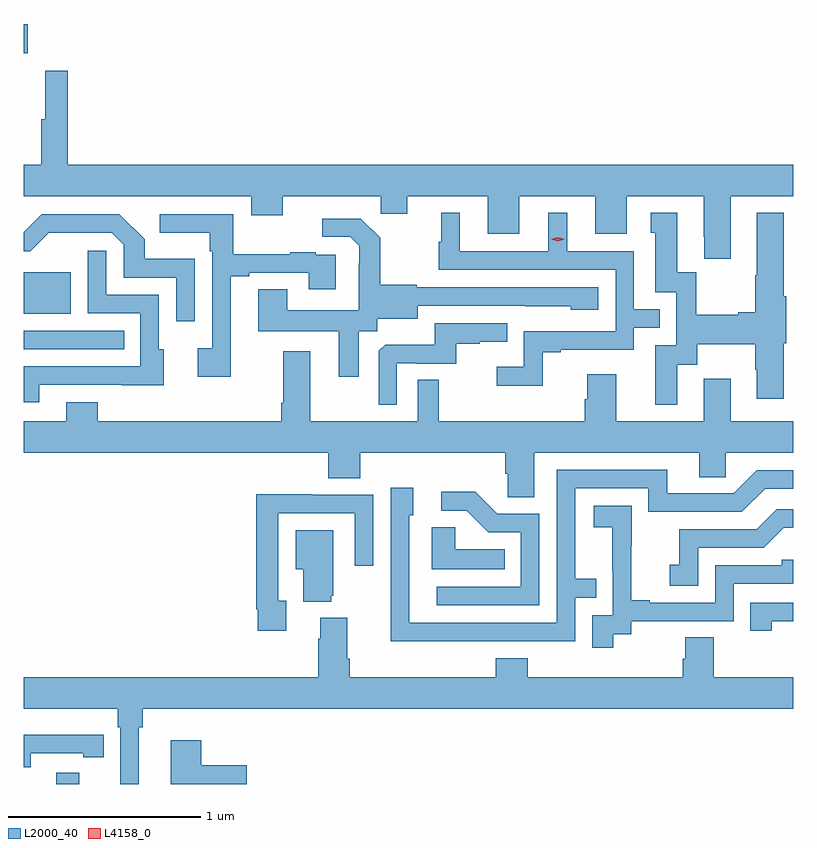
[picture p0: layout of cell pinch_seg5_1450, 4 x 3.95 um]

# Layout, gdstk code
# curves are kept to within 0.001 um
import gdstk
lib = gdstk.Library(unit=1e-6, precision=1e-09)
def R(c, l, rs):  # rectangles x0, y0, x1, y1
    for r in rs: c.add(gdstk.rectangle(r[:2], r[2:], *l))
def P(c, l, *ps):  # polygons
    for p in ps: c.add(gdstk.Polygon(p, *l))
L2000_40 = (2000, 40)
L4158_0 = (4158, 0)

pinch_seg5_1450 = lib.new_cell('pinch_seg5_1450')
R(pinch_seg5_1450, L2000_40, [(237.781,887.006,237.899,887.065), (237.611,889.266,238.133,889.362), (237.611,889.451,237.856,889.666), (237.611,890.804,237.631,890.956)])
P(pinch_seg5_1450, L2000_40, [(241.285,890.06),(241.611,890.06),(241.611,890.224),(237.839,890.224),(237.839,890.713),(237.722,890.713),(237.722,890.46),(237.703,890.46),(237.703,890.224),(237.611,890.224),(237.611,890.06),(238.793,890.06),(238.793,889.961),(238.957,889.961),(238.957,890.06),(239.467,890.06),(239.467,889.97),(239.605,889.97),(239.605,890.06),(240.023,890.06),(240.023,889.866),(240.187,889.866),(240.187,890.06),(240.581,890.06),(240.581,889.866),(240.745,889.866),(240.745,890.06),(241.145,890.06),(241.145,889.849),(241.148,889.849),(241.148,889.737),(241.285,889.737)],
  [(241.009,889.186),(241.111,889.186),(241.111,889.292),(241.414,889.292),(241.414,889.158),(241.421,889.158),(241.421,889.008),(241.561,889.008),(241.561,889.296),(241.574,889.296),(241.574,889.54),(241.561,889.54),(241.561,889.975),(241.421,889.975),(241.421,889.649),(241.414,889.649),(241.414,889.457),(241.325,889.457),(241.325,889.444),(241.107,889.444),(241.107,889.667),(241.009,889.667),(241.009,889.975),(240.869,889.975),(240.869,889.872),(240.893,889.872),(240.893,889.563),(241.002,889.563),(241.002,889.287),(240.893,889.287),(240.893,888.978),(241.009,888.978)],
  [(240.309,889.251),(240.403,889.251),(240.403,889.263),(240.783,889.263),(240.783,889.377),(240.917,889.377),(240.917,889.473),(240.783,889.473),(240.783,889.776),(240.436,889.776),(240.436,889.975),(240.338,889.975),(240.338,889.776),(239.878,889.776),(239.878,889.975),(239.78,889.975),(239.78,889.824),(239.769,889.824),(239.769,889.68),(240.687,889.68),(240.687,889.359),(240.21,889.359),(240.21,889.174),(240.069,889.174),(240.069,889.076),(240.309,889.076)],
  [(238.687,889.644),(238.783,889.644),(238.783,889.662),(239.093,889.662),(239.093,889.578),(239.233,889.578),(239.233,889.758),(239.129,889.758),(239.129,889.771),(238.997,889.771),(238.997,889.76),(238.699,889.76),(238.699,889.968),(238.317,889.968),(238.317,889.871),(238.578,889.871),(238.578,889.775),(238.59,889.775),(238.59,889.27),(238.515,889.27),(238.515,889.122),(238.687,889.122)],
  [(238.5,889.735),(238.239,889.735),(238.239,889.838),(238.108,889.968),(237.705,889.968),(237.611,889.874),(237.611,889.776),(237.645,889.776),(237.74,889.871),(238.068,889.872),(238.131,889.809),(238.131,889.638),(238.404,889.638),(238.404,889.41),(238.5,889.41)],
  [(239.353,889.36),(239.448,889.36),(239.448,889.424),(239.659,889.424),(239.659,889.491),(240.453,889.49),(240.453,889.472),(240.598,889.472),(240.598,889.587),(239.655,889.587),(239.655,889.6),(239.463,889.6),(239.463,889.845),(239.363,889.945),(239.163,889.945),(239.163,889.851),(239.307,889.851),(239.354,889.804),(239.354,889.709),(239.352,889.709),(239.352,889.468),(238.981,889.468),(238.981,889.577),(238.829,889.577),(238.829,889.358),(239.249,889.358),(239.249,889.122),(239.353,889.122)],
  [(237.691,889.08),(238.121,889.08),(238.121,889.079),(238.339,889.079),(238.339,889.266),(238.314,889.266),(238.314,889.548),(238.041,889.548),(238.041,889.777),(237.945,889.777),(237.945,889.452),(238.218,889.452),(238.218,889.176),(237.611,889.176),(237.611,888.99),(237.691,888.99)],
  [(239.55,889.194),(239.65,889.194),(239.65,889.191),(239.858,889.191),(239.858,889.293),(239.981,889.293),(239.981,889.304),(240.125,889.304),(240.125,889.401),(239.748,889.401),(239.748,889.289),(239.489,889.289),(239.457,889.257),(239.457,888.977),(239.55,888.977)],
  [(240.265,888.728),(241.121,888.728),(241.121,888.601),(241.26,888.601),(241.26,888.728),(241.611,888.728),(241.611,888.892),(241.285,888.892),(241.285,889.111),(241.145,889.111),(241.145,888.892),(240.691,888.892),(240.691,889.135),(240.539,889.135),(240.539,889.005),(240.527,889.005),(240.527,888.892),(239.767,888.892),(239.767,889.106),(239.658,889.106),(239.658,888.892),(239.101,888.892),(239.101,889.255),(238.961,889.255),(238.961,888.988),(238.949,888.988),(238.949,888.892),(237.997,888.892),(237.997,888.991),(237.833,888.991),(237.833,888.892),(237.611,888.892),(237.611,888.728),(239.195,888.728),(239.195,888.595),(239.36,888.595),(239.36,888.728),(240.113,888.728),(240.113,888.619),(240.126,888.619),(240.126,888.496),(240.265,888.496)],
  [(239.981,887.748),(240.477,887.748),(240.477,887.973),(240.587,887.973),(240.587,888.074),(240.477,888.074),(240.477,888.543),(240.858,888.543),(240.858,888.42),(241.344,888.42),(241.464,888.54),(241.611,888.54),(241.611,888.636),(241.422,888.636),(241.302,888.516),(240.955,888.516),(240.955,888.639),(240.381,888.639),(240.381,887.844),(239.616,887.844),(239.616,888.402),(239.635,888.402),(239.635,888.547),(239.52,888.547),(239.52,888.053),(239.518,888.053),(239.518,887.747)],
  [(240.291,888.411),(240.072,888.411),(239.959,888.524),(239.781,888.524),(239.781,888.426),(239.915,888.426),(240.026,888.315),(240.195,888.315),(240.195,888.03),(239.757,888.03),(239.757,887.934),(240.291,887.934)],
  [(238.975,887.958),(238.935,887.958),(238.935,888.414),(239.331,888.414),(239.331,888.141),(239.427,888.141),(239.427,888.51),(239.111,888.51),(239.111,888.512),(238.819,888.512),(238.819,887.914),(238.827,887.914),(238.827,887.802),(238.975,887.802)],
  [(240.676,887.785),(240.768,887.785),(240.768,887.853),(241.302,887.853),(241.302,888.048),(241.611,888.048),(241.611,888.171),(241.551,888.171),(241.551,888.144),(241.206,888.144),(241.206,887.949),(240.865,887.949),(240.865,887.962),(240.77,887.962),(240.77,888.245),(240.771,888.245),(240.771,888.451),(240.573,888.451),(240.573,888.341),(240.671,888.341),(240.671,888.113),(240.672,888.113),(240.672,887.883),(240.567,887.883),(240.567,887.715),(240.676,887.715)],
  [(241.116,888.234),(241.458,888.234),(241.562,888.338),(241.611,888.338),(241.611,888.435),(241.526,888.435),(241.421,888.33),(241.018,888.33),(241.018,888.145),(240.969,888.145),(240.969,888.036),(241.116,888.036)],
  [(240.11,888.226),(239.853,888.226),(239.853,888.341),(239.732,888.341),(239.732,888.122),(240.11,888.122)],
  [(239.21,887.985),(239.221,887.985),(239.221,888.325),(239.024,888.325),(239.024,888.122),(239.063,888.122),(239.063,887.954),(239.21,887.954)],
  [(241.498,887.853),(241.611,887.853),(241.611,887.949),(241.387,887.949),(241.387,887.802),(241.498,887.802)],
  [(241.611,887.56),(241.197,887.56),(241.197,887.768),(241.049,887.768),(241.049,887.658),(241.037,887.658),(241.037,887.56),(240.23,887.56),(240.23,887.659),(240.065,887.659),(240.065,887.56),(239.306,887.56),(239.306,887.656),(239.293,887.656),(239.293,887.869),(239.153,887.869),(239.153,887.762),(239.141,887.762),(239.141,887.56),(237.611,887.56),(237.611,887.396),(238.1,887.396),(238.1,887.3),(238.113,887.3),(238.113,887.006),(238.21,887.006),(238.21,887.3),(238.229,887.3),(238.229,887.396),(241.611,887.396)],
  [(237.648,887.166),(237.92,887.166),(237.92,887.146),(238.028,887.146),(238.028,887.262),(237.92,887.262),(237.92,887.263),(237.611,887.263),(237.611,887.094),(237.648,887.094)],
  [(238.771,887.103),(238.535,887.103),(238.535,887.233),(238.376,887.233),(238.376,887.006),(238.771,887.006)])
P(pinch_seg5_1450, L4158_0, [(240.387,889.828),(240.352,889.838),(240.351,889.838),(240.352,889.838),(240.387,889.848),(240.422,889.838),(240.423,889.838),(240.422,889.838)])

lib.write_gds('pinch_seg5_1450.gds')
